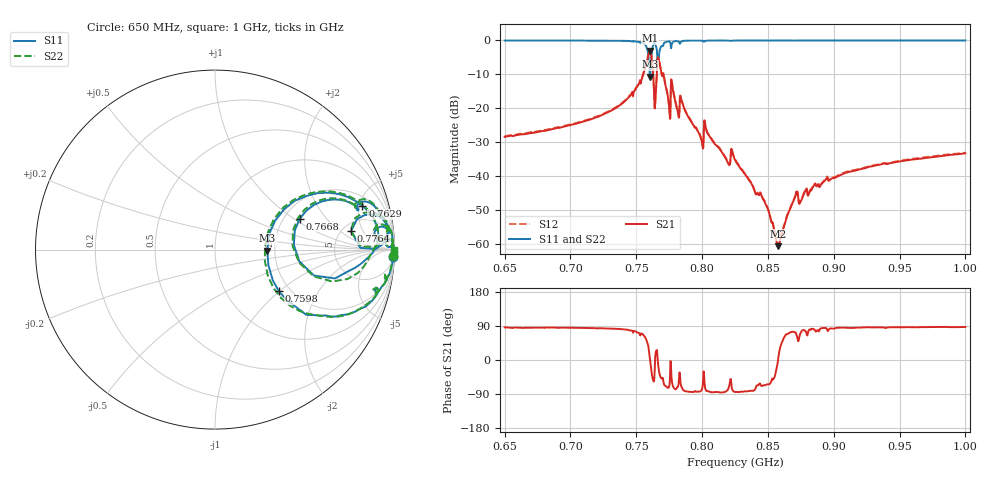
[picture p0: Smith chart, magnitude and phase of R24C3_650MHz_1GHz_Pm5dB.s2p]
!Keysight Technologies,N5221A,MY56011522,A.10.47.06
!Date: Tuesday, September 29, 2020 15:15:11
!Correction: S11(Full 2 Port(1,2))
!S21(Full 2 Port(1,2))
!S12(Full 2 Port(1,2))
!S22(Full 2 Port(1,2))
!S2P File: Measurements: S11, S21, S12, S22:
# Hz S  dB  R 50
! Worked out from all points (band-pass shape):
!   1601 points, 650 MHz to 1 GHz, reference 50 ohm
!   highest |S21| = -3.05 dB at 760.5 MHz (marker M1); lowest = -60.6 dB at 857.6 MHz (marker M2)
!   |S21| within 3 dB of the highest: 758.1158 MHz to 761.9177 MHz (3.802 MHz wide, 0.5 % of centre); 766.0494 MHz to 767.3416 MHz (1.292 MHz wide, 0.169 % of centre)
!   lowest |S11| = -10.7 dB at 760.5 MHz (marker M3), VSWR 1.82, Z = 91.1 - j1.03 ohm
!   |S11| at or under -10 dB: 760.2245 MHz to 760.6966 MHz (472.1 kHz wide, 0.0621 % of centre)
!   |S22| runs from -11.1 to 0.0 dB; largest |S21 - S12| = 0.048
!   S11 on the Smith chart (normalised r, x): 650 MHz: 7, -48; 759.8 MHz: 1.75, -0.99; 762.9 MHz: 2.90, +5.33; 766.8 MHz: 2.42, +1.12; 776.4 MHz: 5.98, +3.02; 1 GHz: 10, -81
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6.5e8  -0.06 -2.3  -28.43 86.1  -28.25 85.8  -0.06 -2.2
7.084062e8  -0.07 -3.7  -24.07 84.7  -23.89 84.6  -0.08 -3.2
7.50625e8  -0.40 -12.2  -13.61 73.0  -13.48 73.1  -0.40 -12.1
7.57625e8  -1.82 -26.6  -6.92 53.5  -6.57 52.6  -1.93 -27.4
7.598125e8  -7.42 -33.1  -3.36 20.2  -3.03 17.9  -8.23 -33.2
7.604688e8  -10.71 -1.0  -3.05 0.6  -2.88 -0.9  -11.10 3.0
7.62875e8  -1.34 16.6  -10.43 -54.3  -10.25 -54.4  -1.36 17.4
7.644062e8  -1.15 -1.3  -18.36 9.4  -18.54 7.1  -1.13 -0.6
7.668125e8  -5.97 20.1  -5.17 -18.1  -5.04 -17.5  -6.15 20.7
7.692188e8  -1.72 17.2  -9.81 -48.8  -9.70 -47.9  -1.78 17.9
7.7425e8  -0.30 7.8  -17.13 -73.6  -16.93 -73.3  -0.31 8.6
7.764375e8  -2.32 7.8  -11.71 -23.9  -11.72 -22.1  -2.36 7.9
7.994062e8  -0.08 1.8  -29.20 -80.5  -29.01 -80.6  -0.08 2.3
8.03125e8  -0.09 2.6  -26.23 -81.0  -26.04 -81.1  -0.09 3.0
8.195312e8  -0.07 0.8  -35.99 -78.4  -35.79 -78.4  -0.06 1.1
8.25e8  -0.05 0.9  -35.16 -84.3  -34.95 -84.4  -0.04 1.3
8.46e8  -0.05 0.1  -46.53 -67.7  -46.35 -67.8  -0.04 0.9
8.575938e8  -0.04 -0.2  -60.60 -2.5  -60.45 -3.0  -0.04 0.6
8.709375e8  -0.05 -0.6  -45.80 72.4  -45.61 72.6  -0.05 0.0
8.834062e8  -0.04 -0.6  -43.71 82.5  -43.51 82.3  -0.04 -0.2
9.418125e8  -0.04 -1.0  -36.26 86.3  -36.09 86.2  -0.04 -0.3
1e9  -0.03 -1.4  -33.24 87.0  -33.07 87.2  -0.01 -0.0
